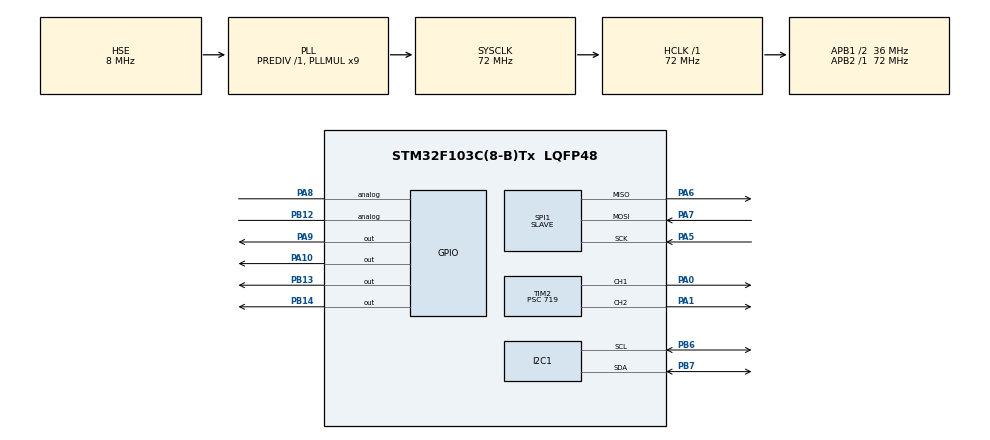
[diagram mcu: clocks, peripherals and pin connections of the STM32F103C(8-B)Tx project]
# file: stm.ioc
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Mcu.Family=STM32F1
Mcu.Name=STM32F103C(8-B)Tx
Mcu.Package=LQFP48
NVIC.PriorityGroup=NVIC_PRIORITYGROUP_4
NVIC.SPI1_IRQn=true\:0\:0\:false\:false\:true\:true\:true\:true
NVIC.TIM2_IRQn=true\:0\:0\:false\:false\:true\:true\:true\:true
PA0-WKUP.Signal=S_TIM2_CH1_ETR
PA1.Signal=S_TIM2_CH2
PA10.Signal=GPIO_Output
PA5.Mode=Full_Duplex_Slave
PA5.Signal=SPI1_SCK
PA6.Mode=Full_Duplex_Slave
PA6.Signal=SPI1_MISO
PA7.Mode=Full_Duplex_Slave
PA7.Signal=SPI1_MOSI
PA8.Signal=GPIO_Analog
PA9.Signal=GPIO_Output
PB12.Signal=GPIO_Analog
PB13.Signal=GPIO_Output
PB14.Signal=GPIO_Output
PB6.Mode=I2C
PB6.Signal=I2C1_SCL
PB7.Mode=I2C
PB7.Signal=I2C1_SDA
PD0-OSC_IN.Mode=HSE-External-Oscillator
PD0-OSC_IN.Signal=RCC_OSC_IN
PD1-OSC_OUT.Mode=HSE-External-Oscillator
PD1-OSC_OUT.Signal=RCC_OSC_OUT
ProjectManager.HeapSize=0x200
ProjectManager.StackSize=0x400
ProjectManager.TargetToolchain=STM32CubeIDE
RCC.AHBFreq_Value=72000000
RCC.APB1CLKDivider=RCC_HCLK_DIV2
RCC.APB1Freq_Value=36000000
RCC.APB1TimFreq_Value=72000000
RCC.APB2Freq_Value=72000000
RCC.APB2TimFreq_Value=72000000
RCC.HCLKFreq_Value=72000000
RCC.PLLMUL=RCC_PLL_MUL9
RCC.PLLSourceVirtual=RCC_PLLSOURCE_HSE
RCC.SYSCLKFreq_VALUE=72000000
RCC.SYSCLKSource=RCC_SYSCLKSOURCE_PLLCLK
RCC.USBFreq_Value=72000000
SH.S_TIM2_CH1_ETR.0=TIM2_CH1,PWM Generation1 CH1
SH.S_TIM2_CH2.0=TIM2_CH2,PWM Generation2 CH2
SPI1.Direction=SPI_DIRECTION_2LINES
SPI1.Mode=SPI_MODE_SLAVE
SPI1.VirtualType=VM_SLAVE
TIM2.AutoReloadPreload=TIM_AUTORELOAD_PRELOAD_ENABLE
TIM2.Channel-PWM\ Generation1\ CH1=TIM_CHANNEL_1
TIM2.Channel-PWM\ Generation2\ CH2=TIM_CHANNEL_2
TIM2.Period=99
TIM2.Prescaler=719
VP_TIM2_VS_ClockSourceINT.Mode=Internal
board=custom

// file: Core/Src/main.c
/* USER CODE BEGIN Header */
/**
  ******************************************************************************
  * @file           : main.c
  * @brief          : Main program body
  ******************************************************************************
  * @attention
  *
  * Copyright (c) 2023 STMicroelectronics.
  * All rights reserved.
  *
  * This software is licensed under terms that can be found in the LICENSE file
  * in the root directory of this software component.
  * If no LICENSE file comes with this software, it is provided AS-IS.
  *
  ******************************************************************************
  */
/* USER CODE END Header */
#include "main.h"
#include "i2c.h"
#include "spi.h"
#include "tim.h"
#include "gpio.h"

/* USER CODE BEGIN Includes */
#include "motor.h"
#include "tank.h"
/* USER CODE END Includes */

void SystemClock_Config(void);

int main(void)
{

  /* MCU Configuration--------------------------------------------------------*/

  /* Reset of all peripherals, Initializes the Flash interface and the Systick. */
  HAL_Init();

  /* Configure the system clock */
  SystemClock_Config();

  /* Initialize all configured peripherals */
  MX_GPIO_Init();
  MX_I2C1_Init();
  MX_TIM2_Init();
  MX_SPI1_Init();
  /* USER CODE BEGIN 2 */
  HAL_TIM_PWM_Start(&htim2, TIM_CHANNEL_1);
  HAL_TIM_PWM_Start(&htim2, TIM_CHANNEL_2);
  /* USER CODE END 2 */

  /* Infinite loop */
  /* USER CODE BEGIN WHILE */
  while (1)
  {
	char buff[1];
	HAL_SPI_Receive(&hspi1, (uint8_t *)buff, 1, 100);
	//	 HAL_SPI_Receive_IT(&hspi1, (uint8_t *)buff, 1);
	if (buff[0] == '0'){
	//		__HAL_TIM_SET_COMPARE(&htim2, TIM_CHANNEL_2, 0);
		TIM2->CCR1=0;
		TIM2->CCR2=0;
	}
	if (buff[0] == '1'){
		TIM2->CCR1=100;
		TIM2->CCR2=100;
		move_forward();
	}
	if (buff[0] == '2'){
		TIM2->CCR1=100;
		TIM2->CCR2=100;
		move_backward();
	}
	if (buff[0] == '3'){
		TIM2->CCR1=100;
		TIM2->CCR2=100;
		turn_right();
	}
	if (buff[0] == '4'){
		TIM2->CCR1=100;
		TIM2->CCR2=100;
		turn_left();
	}
	if (buff[0] == '5'){
		// forward left
		TIM2->CCR1=80;
		TIM2->CCR2=100;
		move_forward();
	}
	if (buff[0] == '6'){
		// forward right
		TIM2->CCR1=100;
		TIM2->CCR2=80;
		move_forward();
	}
	if (buff[0] == '7'){
		// backward left
		TIM2->CCR1=80;
		TIM2->CCR2=100;
		move_backward();
	}
	if (buff[0] == '8'){
		// backward right
		TIM2->CCR1=100;
		TIM2->CCR2=80;
		move_backward();
	}
    /* USER CODE END WHILE */

  }
}

void SystemClock_Config(void)
{
  RCC_OscInitTypeDef RCC_OscInitStruct = {0};
  RCC_ClkInitTypeDef RCC_ClkInitStruct = {0};

  /** Initializes the RCC Oscillators according to the specified parameters
  * in the RCC_OscInitTypeDef structure.
  */
  RCC_OscInitStruct.OscillatorType = RCC_OSCILLATORTYPE_HSE;
  RCC_OscInitStruct.HSEState = RCC_HSE_ON;
  RCC_OscInitStruct.HSEPredivValue = RCC_HSE_PREDIV_DIV1;
  RCC_OscInitStruct.HSIState = RCC_HSI_ON;
  RCC_OscInitStruct.PLL.PLLState = RCC_PLL_ON;
  RCC_OscInitStruct.PLL.PLLSource = RCC_PLLSOURCE_HSE;
  RCC_OscInitStruct.PLL.PLLMUL = RCC_PLL_MUL9;
  if (HAL_RCC_OscConfig(&RCC_OscInitStruct) != HAL_OK)
  {
    Error_Handler();
  }

  /** Initializes the CPU, AHB and APB buses clocks
  */
  RCC_ClkInitStruct.ClockType = RCC_CLOCKTYPE_HCLK|RCC_CLOCKTYPE_SYSCLK
                              |RCC_CLOCKTYPE_PCLK1|RCC_CLOCKTYPE_PCLK2;
  RCC_ClkInitStruct.SYSCLKSource = RCC_SYSCLKSOURCE_PLLCLK;
  RCC_ClkInitStruct.AHBCLKDivider = RCC_SYSCLK_DIV1;
  RCC_ClkInitStruct.APB1CLKDivider = RCC_HCLK_DIV2;
  RCC_ClkInitStruct.APB2CLKDivider = RCC_HCLK_DIV1;

  if (HAL_RCC_ClockConfig(&RCC_ClkInitStruct, FLASH_LATENCY_2) != HAL_OK)
  {
    Error_Handler();
  }
}

void Error_Handler(void)
{
  __disable_irq();
  while (1)
  {
  }
}
